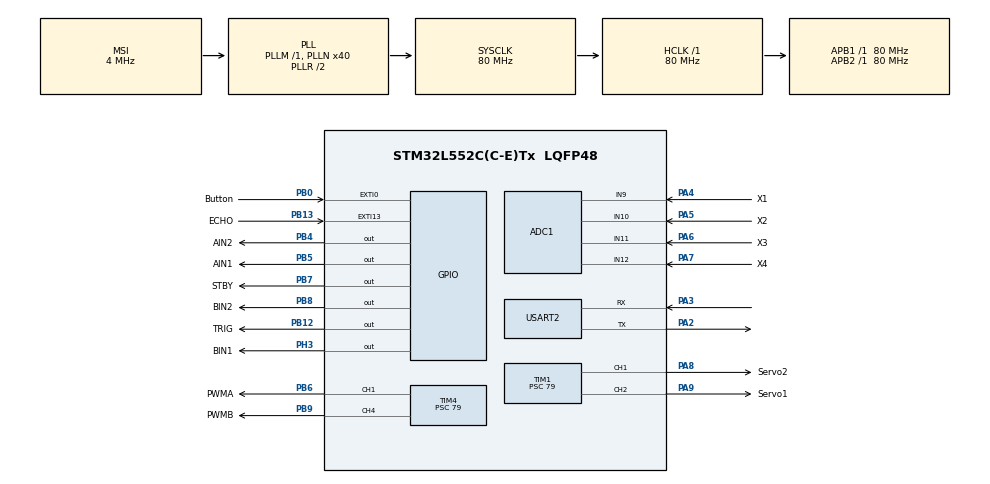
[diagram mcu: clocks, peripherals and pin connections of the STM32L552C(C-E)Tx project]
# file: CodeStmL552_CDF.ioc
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ADC1.Channel-0\#ChannelRegularConversion=ADC_CHANNEL_10
ADC1.Channel-1\#ChannelRegularConversion=ADC_CHANNEL_9
ADC1.Channel-2\#ChannelRegularConversion=ADC_CHANNEL_11
ADC1.Channel-3\#ChannelRegularConversion=ADC_CHANNEL_12
ADC1.ContinuousConvMode=ENABLE
ADC1.DMAContinuousRequests=ENABLE
ADC1.EOCSelection=ADC_EOC_SEQ_CONV
ADC1.EnableInjectedConversion=DISABLE
ADC1.NbrOfConversion=4
ADC1.NbrOfConversionFlag=1
ADC1.OffsetNumber-0\#ChannelRegularConversion=ADC_OFFSET_NONE
ADC1.OffsetNumber-1\#ChannelRegularConversion=ADC_OFFSET_NONE
ADC1.OffsetNumber-2\#ChannelRegularConversion=ADC_OFFSET_NONE
ADC1.OffsetNumber-3\#ChannelRegularConversion=ADC_OFFSET_NONE
ADC1.Rank-0\#ChannelRegularConversion=1
ADC1.Rank-1\#ChannelRegularConversion=2
ADC1.Rank-2\#ChannelRegularConversion=3
ADC1.Rank-3\#ChannelRegularConversion=4
ADC1.SamplingTime-0\#ChannelRegularConversion=ADC_SAMPLETIME_92CYCLES_5
ADC1.SamplingTime-1\#ChannelRegularConversion=ADC_SAMPLETIME_92CYCLES_5
ADC1.SamplingTime-2\#ChannelRegularConversion=ADC_SAMPLETIME_92CYCLES_5
ADC1.SamplingTime-3\#ChannelRegularConversion=ADC_SAMPLETIME_92CYCLES_5
ADC1.master=1
Dma.ADC1.0.Channel_PRIV_NPRIV=DMA_CHANNEL_NPRIV_DISABLE
Dma.ADC1.0.Direction=DMA_PERIPH_TO_MEMORY
Dma.ADC1.0.EventEnable=DISABLE
Dma.ADC1.0.Instance=DMA1_Channel1
Dma.ADC1.0.MemDataAlignment=DMA_MDATAALIGN_HALFWORD
Dma.ADC1.0.MemInc=DMA_MINC_ENABLE
Dma.ADC1.0.Mode=DMA_CIRCULAR
Dma.ADC1.0.PeriphDataAlignment=DMA_PDATAALIGN_HALFWORD
Dma.ADC1.0.PeriphInc=DMA_PINC_DISABLE
Dma.ADC1.0.Polarity=HAL_DMAMUX_REQ_GEN_RISING
Dma.ADC1.0.Priority=DMA_PRIORITY_LOW
Dma.ADC1.0.RequestNumber=1
Dma.ADC1.0.SignalID=NONE
Dma.ADC1.0.SyncEnable=DISABLE
Dma.ADC1.0.SyncPolarity=HAL_DMAMUX_SYNC_NO_EVENT
Dma.ADC1.0.SyncRequestNumber=1
Dma.ADC1.0.SyncSignalID=NONE
Dma.Request0=ADC1
Mcu.Family=STM32L5
Mcu.Name=STM32L552C(C-E)Tx
Mcu.Package=LQFP48
NVIC.DMA1_Channel1_IRQn=true\:0\:0\:false\:false\:true\:false\:true\:true
NVIC.EXTI0_IRQn=true\:0\:0\:false\:false\:true\:true\:true\:true
NVIC.EXTI13_IRQn=true\:0\:0\:false\:false\:true\:true\:true\:true
NVIC.PriorityGroup=NVIC_PRIORITYGROUP_3
PA13\ (JTMS/SWDIO).Mode=Trace_Asynchronous_SW
PA13\ (JTMS/SWDIO).Signal=DEBUG_JTMS-SWDIO
PA14\ (JTCK/SWCLK).Mode=Trace_Asynchronous_SW
PA14\ (JTCK/SWCLK).Signal=DEBUG_JTCK-SWCLK
PA2.Mode=Asynchronous
PA2.Signal=USART2_TX
PA3.Mode=Asynchronous
PA3.Signal=USART2_RX
PA4.GPIO_Label=X1
PA4.Signal=ADCx_IN9
PA5.GPIO_Label=X2
PA5.Signal=ADCx_IN10
PA6.GPIO_Label=X3
PA6.Signal=ADCx_IN11
PA7.GPIO_Label=X4
PA7.Signal=ADCx_IN12
PA8.GPIO_Label=Servo2
PA8.Signal=S_TIM1_CH1
PA9.GPIO_Label=Servo1
PA9.Signal=S_TIM1_CH2
PB0.GPIO_Label=Button
PB0.GPIO_ModeDefaultEXTI=GPIO_MODE_IT_RISING
PB0.GPIO_PuPd=GPIO_NOPULL
PB0.Signal=GPXTI0
PB12.GPIO_Label=TRIG
PB12.Signal=GPIO_Output
PB13.GPIO_Label=ECHO
PB13.GPIO_ModeDefaultEXTI=GPIO_MODE_IT_RISING_FALLING
PB13.Signal=GPXTI13
PB3\ (JTDO/TRACESWO).Mode=Trace_Asynchronous_SW
PB3\ (JTDO/TRACESWO).Signal=DEBUG_JTDO-SWO
PB4\ (NJTRST).GPIO_Label=AIN2
PB4\ (NJTRST).Signal=GPIO_Output
PB5.GPIO_Label=AIN1
PB5.Signal=GPIO_Output
PB6.GPIO_Label=PWMA
PB6.Signal=S_TIM4_CH1
PB7.GPIO_Label=STBY
PB7.Signal=GPIO_Output
PB8.GPIO_Label=BIN2
PB8.Signal=GPIO_Output
PB9.GPIO_Label=PWMB
PB9.Signal=S_TIM4_CH4
PH0-OSC_IN\ (PH0).Mode=HSE-External-Oscillator
PH0-OSC_IN\ (PH0).Signal=RCC_OSC_IN
PH1-OSC_OUT\ (PH1).Mode=HSE-External-Oscillator
PH1-OSC_OUT\ (PH1).Signal=RCC_OSC_OUT
PH3-BOOT0.GPIO_Label=BIN1
PH3-BOOT0.Signal=GPIO_Output
ProjectManager.HeapSize=0x200
ProjectManager.StackSize=0x400
ProjectManager.TargetToolchain=STM32CubeIDE
RCC.ADCFreq_Value=32000000
RCC.AHBFreq_Value=80000000
RCC.APB1Freq_Value=80000000
RCC.APB1TimFreq_Value=80000000
RCC.APB2Freq_Value=80000000
RCC.APB2TimFreq_Value=80000000
RCC.CortexFreq_Value=80000000
RCC.HCLKFreq_Value=80000000
RCC.HSE_VALUE=16000000
RCC.HSI48_VALUE=48000000
RCC.HSI_VALUE=16000000
RCC.LSE_VALUE=32768
RCC.MSI_VALUE=4000000
RCC.PLLN=40
RCC.PLLSAI1N=16
RCC.SYSCLKFreq_VALUE=80000000
RCC.SYSCLKSource=RCC_SYSCLKSOURCE_PLLCLK
RCC.USBFreq_Value=32000000
RCC.VCOOutputFreq_Value=160000000
SH.ADCx_IN10.0=ADC1_IN10,IN10-Single-Ended
SH.ADCx_IN11.0=ADC1_IN11,IN11-Single-Ended
SH.ADCx_IN12.0=ADC1_IN12,IN12-Single-Ended
SH.ADCx_IN9.0=ADC1_IN9,IN9-Single-Ended
SH.ADCx_IN9.1=ADC2_IN9
SH.S_TIM1_CH1.0=TIM1_CH1,PWM Generation1 CH1
SH.S_TIM1_CH2.0=TIM1_CH2,PWM Generation2 CH2
SH.S_TIM4_CH1.0=TIM4_CH1,PWM Generation1 CH1
SH.S_TIM4_CH4.0=TIM4_CH4,PWM Generation4 CH4
TIM1.Channel-PWM\ Generation1\ CH1=TIM_CHANNEL_1
TIM1.Channel-PWM\ Generation2\ CH2=TIM_CHANNEL_2
TIM1.Prescaler=79
TIM4.Channel-PWM\ Generation1\ CH1=TIM_CHANNEL_1
TIM4.Channel-PWM\ Generation4\ CH4=TIM_CHANNEL_4
TIM4.Period=199
TIM4.Prescaler=79
USART2.VirtualMode-Asynchronous=VM_ASYNC
VP_ICACHE_VS_ICACHE.Mode=DefaultMode
VP_PWR_VS_DBSignals.Mode=DisableDeadBatterySignals
VP_PWR_VS_SECSignals.Mode=Security/Privilege
VP_TIM1_VS_ClockSourceINT.Mode=Internal
VP_TIM4_VS_ClockSourceINT.Mode=Internal
board=custom

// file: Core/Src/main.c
/* USER CODE BEGIN Header */
/**
  ******************************************************************************
  * @file           : main.c
  * @brief          : Main program body
  ******************************************************************************
  * @attention
  *
  * Copyright (c) 2025 STMicroelectronics.
  * All rights reserved.
  *
  * This software is licensed under terms that can be found in the LICENSE file
  * in the root directory of this software component.
  * If no LICENSE file comes with this software, it is provided AS-IS.
  *
  ******************************************************************************
  */
/* USER CODE END Header */
#include "main.h"

/* USER CODE BEGIN Includes */
#include <stdio.h>
#include "MotorFunctions.h"
/* USER CODE END Includes */

ADC_HandleTypeDef hadc1;
DMA_HandleTypeDef hdma_adc1;

TIM_HandleTypeDef htim1;
TIM_HandleTypeDef htim4;

UART_HandleTypeDef huart2;

/* USER CODE BEGIN PV */
uint32_t timer_count = 0;
uint32_t current_count = 0;
uint16_t Distance = 0;
uint16_t STANBY=0;
int threshold = 2000;  //the threshold for line tracking

uint16_t UperSpeed = 150;
uint16_t LowerSpeed = 80;
uint16_t LeftMotorSpeed =120;
uint16_t RightMotorSpeed =120;
uint16_t SpeedStep = 4;
uint16_t DebutVirageG=0;
uint16_t DebutVirageD=0;
uint16_t FinVirageG=0;
uint16_t FinVirageD=0;
uint16_t ILdetected=0;
uint16_t IRdetected=0;
/* USER CODE END PV */

void SystemClock_Config(void);
static void MX_GPIO_Init(void);
static void MX_DMA_Init(void);
static void MX_ADC1_Init(void);
static void MX_USART2_UART_Init(void);
static void MX_TIM1_Init(void);
static void MX_TIM4_Init(void);
static void MX_ICACHE_Init(void);
/* USER CODE BEGIN PFP */
ADC_ChannelConfTypeDef sConfig;
void HAL_GPIO_EXTI_Rising_Callback(uint16_t GPIO_Pin)
{
    if (GPIO_Pin == ECHO_Pin) {
        timer_count = __HAL_TIM_GET_COUNTER(&htim1);
    }
    else if (GPIO_Pin ==Button_Pin){
    	STANBY=1-STANBY;
    	HAL_GPIO_WritePin(STBY_GPIO_Port, STBY_Pin, STANBY);

    }
}

void HAL_GPIO_EXTI_Falling_Callback(uint16_t GPIO_Pin)
{
    if (GPIO_Pin == ECHO_Pin) {
        current_count = __HAL_TIM_GET_COUNTER(&htim1);
        uint32_t delta;

        if (current_count >= timer_count) {
            delta = current_count - timer_count;
        } else {
            delta = (65536 + current_count - timer_count); // pour timer 16 bits
        }

        Distance = (uint16_t)((delta * 0.034f) / 2.0f);  // arrondi entier en cm
    }
}
/* USER CODE END PFP */

/* USER CODE BEGIN 0 */

uint16_t ADC_VAL[4];

int __io_putchar(int ch)
{
  HAL_UART_Transmit(&huart2, (uint8_t *)&ch, 1, HAL_MAX_DELAY);
  return ch;
}
/* USER CODE END 0 */

int main(void)
{

  /* MCU Configuration--------------------------------------------------------*/

  /* Reset of all peripherals, Initializes the Flash interface and the Systick. */
  HAL_Init();

  /* Configure the system clock */
  SystemClock_Config();

  /* USER CODE BEGIN SysInit */
  HAL_NVIC_EnableIRQ(EXTI13_IRQn);

  /* USER CODE END SysInit */

  /* Initialize all configured peripherals */
  MX_GPIO_Init();
  MX_DMA_Init();
  MX_ADC1_Init();
  MX_USART2_UART_Init();
  MX_TIM1_Init();
  MX_TIM4_Init();
  MX_ICACHE_Init();
  /* USER CODE BEGIN 2 */
  HAL_GPIO_WritePin(STBY_GPIO_Port, STBY_Pin, STANBY);
  // For the motors
  HAL_TIM_PWM_Start(&htim4, TIM_CHANNEL_1);
  HAL_TIM_PWM_Start(&htim4, TIM_CHANNEL_4);

  HAL_TIM_Base_Start(&htim1);
  HAL_GPIO_WritePin(TRIG_GPIO_Port, TRIG_Pin, GPIO_PIN_RESET); //pull the TRIG pin low
  HAL_ADCEx_Calibration_Start(&hadc1, ADC_SINGLE_ENDED); //for sensors calibration

  //Stop the motor
  Stop();

  int crossCount =0;
  int TIM_count0 = __HAL_TIM_GET_COUNTER(&htim1);
  int TIM_count1 = __HAL_TIM_GET_COUNTER(&htim1);
  int CurrentTIM_count = __HAL_TIM_GET_COUNTER(&htim1);
  //current_count = __HAL_TIM_GET_COUNTER(&htim1);
  HAL_ADC_Start_DMA(&hadc1, ADC_VAL, 4);

  /* USER CODE END 2 */

  /* Infinite loop */
  /* USER CODE BEGIN WHILE */
  while (1)
  {
	   CurrentTIM_count = __HAL_TIM_GET_COUNTER(&htim1);
	  // Déclenche le capteur
	  	  HAL_GPIO_WritePin(TRIG_GPIO_Port, TRIG_Pin, GPIO_PIN_SET);
	  	  __HAL_TIM_SET_COUNTER(&htim1, 0);
	  	  while (__HAL_TIM_GET_COUNTER(&htim1) < 10); // 10 us
	  	  HAL_GPIO_WritePin(TRIG_GPIO_Port, TRIG_Pin, GPIO_PIN_RESET);

	  	if(Distance>8){     ///  C'est pour la distance.
	  	if(crossCount>=6){
	  		  				TurnRight(UperSpeed);
	  		  			//printf("TurnRight : Crosscount :  %d \r\n", crossCount);
	  	}else{
	  		if((DebutVirageD==0)&&(DebutVirageG==0)){    // Si on n'est pas dans un virage
	  		if(!OL()&&!OR()){   // Les deux extrémitées sont sur du noir
	  			if(IL()&&!IR()){   // On regarde les deux capteur du milieu : Si celui à gauche est sur du blanc et l'autre sur du noir
	  				if(RightMotorSpeed>LowerSpeed){RightMotorSpeed-=SpeedStep;}  // On décrémente si possible la vitesse du moteur à droite
	  				if(LeftMotorSpeed<UperSpeed){LeftMotorSpeed+=SpeedStep;}  // On incrémente celui de gauche
	  				// Tourner legèrement à droite
	  				Run(LeftMotorSpeed, RightMotorSpeed);
	  			}else if(!IL()&&IR()){  // Si celui à gauche est sur du noir et l'autre sur du blanc
	  				if(RightMotorSpeed<UperSpeed){RightMotorSpeed+=SpeedStep;} // On incrémente si possible la vitesse du moteur à droite
					if(LeftMotorSpeed>LowerSpeed){LeftMotorSpeed-=SpeedStep;}   // On décrémente celui de gauche
					// Tourner legèrement à gauche
					Run(LeftMotorSpeed, RightMotorSpeed);
	  			}
	  			// si les deux du milieu sont tous sur du noir, avancer
	  			Run(LeftMotorSpeed, RightMotorSpeed);
	  		}else if(OL()&&OR()&&(IL()||IR())){
	  			if(CurrentTIM_count-TIM_count1 >=1000){
					//printf("++ Crosscount :  %d \r\n", crossCount);
	  				crossCount++;
	  				TIM_count0 = __HAL_TIM_GET_COUNTER(&htim1);
	  			}
	  		}else if(!OL()&&OR()){  // Si le capteur le plus à droite est sur du blanc == Virage à droite !
	  			TurnRight(LowerSpeed); // Tourner à droite (moteur gauche vitesse 30)
	  			DebutVirageD =1;
	  			ILdetected=0;
//				if(CurrentTIM_count-TIM_count0 >=500){
//					TurnRight(LowerSpeed); // Tourner à droite (moteur gauche vitesse 30)
//					printf("TURNRIGHT Crosscount :  %d \r\n", crossCount);
//					DebutVirageD =1;
//					ILdetected=0;
//					TIM_count1 = __HAL_TIM_GET_COUNTER(&htim1);
//				}
	  		}else if(OL()&&!OR()){  // Cas symétrique
	  			TurnLeft(LowerSpeed);
	  			DebutVirageG =1;
	  			IRdetected=0;
//				if(CurrentTIM_count-TIM_count0 >=500){
//				TurnLeft(LowerSpeed); // Tourner à droite (moteur gauche vitesse 30)
//				printf("TURNRIGHT Crosscount :  %d \r\n", crossCount);
//				DebutVirageG =1;
//				IRdetected=0;
//				TIM_count1= __HAL_TIM_GET_COUNTER(&htim1);
//			}
	  		}
	  		}else{
	  			if((DebutVirageG==1)&&IR()&&(IRdetected==0)){  // SI on est dans un virage et le deuxième capteur à compter de la droite detecte du banc
	  				IRdetected=1;
	  			}
	  			else if((DebutVirageG==1)&&!IR()&&(IRdetected==1)){
	  				IRdetected=0;
	  				DebutVirageG=0;
	  				if(RightMotorSpeed<UperSpeed){RightMotorSpeed+=SpeedStep;}
	  				if(LeftMotorSpeed>LowerSpeed){LeftMotorSpeed-=SpeedStep;}
	  				int speed = (RightMotorSpeed>LeftMotorSpeed)?LeftMotorSpeed:RightMotorSpeed;
	  				Run(speed, speed);
	  			}
	  			if((DebutVirageD==1)&&IL()&&(ILdetected==0)){
					ILdetected=1;
				}
	  			else if((DebutVirageD==1)&&!IL()&&(ILdetected==1)){
					ILdetected=0;
					DebutVirageD=0;
					if(LeftMotorSpeed<UperSpeed){LeftMotorSpeed+=SpeedStep;}
					if(RightMotorSpeed>LowerSpeed){RightMotorSpeed-=SpeedStep;}
					int speed = (RightMotorSpeed>LeftMotorSpeed)?LeftMotorSpeed:RightMotorSpeed;
					Run(speed, speed);
	  			}
	  		}}
	  	}else{Stop();}
	 	  //printf("[ %i,    %i,    %i,    %i  ] \r\n ",ADC_VAL[0],ADC_VAL[1],ADC_VAL[2],ADC_VAL[3]);

	 	  HAL_Delay(5);

    /* USER CODE END WHILE */

  }
}

void SystemClock_Config(void)
{
  RCC_OscInitTypeDef RCC_OscInitStruct = {0};
  RCC_ClkInitTypeDef RCC_ClkInitStruct = {0};

  /** Configure the main internal regulator output voltage
  */
  if (HAL_PWREx_ControlVoltageScaling(PWR_REGULATOR_VOLTAGE_SCALE1) != HAL_OK)
  {
    Error_Handler();
  }

  /** Initializes the RCC Oscillators according to the specified parameters
  * in the RCC_OscInitTypeDef structure.
  */
  RCC_OscInitStruct.OscillatorType = RCC_OSCILLATORTYPE_MSI;
  RCC_OscInitStruct.MSIState = RCC_MSI_ON;
  RCC_OscInitStruct.MSICalibrationValue = RCC_MSICALIBRATION_DEFAULT;
  RCC_OscInitStruct.MSIClockRange = RCC_MSIRANGE_6;
  RCC_OscInitStruct.PLL.PLLState = RCC_PLL_ON;
  RCC_OscInitStruct.PLL.PLLSource = RCC_PLLSOURCE_MSI;
  RCC_OscInitStruct.PLL.PLLM = 1;
  RCC_OscInitStruct.PLL.PLLN = 40;
  RCC_OscInitStruct.PLL.PLLP = RCC_PLLP_DIV7;
  RCC_OscInitStruct.PLL.PLLQ = RCC_PLLQ_DIV2;
  RCC_OscInitStruct.PLL.PLLR = RCC_PLLR_DIV2;
  if (HAL_RCC_OscConfig(&RCC_OscInitStruct) != HAL_OK)
  {
    Error_Handler();
  }

  /** Initializes the CPU, AHB and APB buses clocks
  */
  RCC_ClkInitStruct.ClockType = RCC_CLOCKTYPE_HCLK|RCC_CLOCKTYPE_SYSCLK
                              |RCC_CLOCKTYPE_PCLK1|RCC_CLOCKTYPE_PCLK2;
  RCC_ClkInitStruct.SYSCLKSource = RCC_SYSCLKSOURCE_PLLCLK;
  RCC_ClkInitStruct.AHBCLKDivider = RCC_SYSCLK_DIV1;
  RCC_ClkInitStruct.APB1CLKDivider = RCC_HCLK_DIV1;
  RCC_ClkInitStruct.APB2CLKDivider = RCC_HCLK_DIV1;

  if (HAL_RCC_ClockConfig(&RCC_ClkInitStruct, FLASH_LATENCY_3) != HAL_OK)
  {
    Error_Handler();
  }
}

static void MX_ADC1_Init(void)
{

  ADC_MultiModeTypeDef multimode = {0};
  ADC_ChannelConfTypeDef sConfig = {0};

  /** Common config
  */
  hadc1.Instance = ADC1;
  hadc1.Init.ClockPrescaler = ADC_CLOCK_ASYNC_DIV1;
  hadc1.Init.Resolution = ADC_RESOLUTION_12B;
  hadc1.Init.DataAlign = ADC_DATAALIGN_RIGHT;
  hadc1.Init.ScanConvMode = ADC_SCAN_ENABLE;
  hadc1.Init.EOCSelection = ADC_EOC_SEQ_CONV;
  hadc1.Init.LowPowerAutoWait = DISABLE;
  hadc1.Init.ContinuousConvMode = ENABLE;
  hadc1.Init.NbrOfConversion = 4;
  hadc1.Init.DiscontinuousConvMode = DISABLE;
  hadc1.Init.ExternalTrigConv = ADC_SOFTWARE_START;
  hadc1.Init.ExternalTrigConvEdge = ADC_EXTERNALTRIGCONVEDGE_NONE;
  hadc1.Init.DMAContinuousRequests = ENABLE;
  hadc1.Init.Overrun = ADC_OVR_DATA_PRESERVED;
  hadc1.Init.OversamplingMode = DISABLE;
  if (HAL_ADC_Init(&hadc1) != HAL_OK)
  {
    Error_Handler();
  }

  /** Configure the ADC multi-mode
  */
  multimode.Mode = ADC_MODE_INDEPENDENT;
  if (HAL_ADCEx_MultiModeConfigChannel(&hadc1, &multimode) != HAL_OK)
  {
    Error_Handler();
  }

  /** Configure Regular Channel
  */
  sConfig.Channel = ADC_CHANNEL_10;
  sConfig.Rank = ADC_REGULAR_RANK_1;
  sConfig.SamplingTime = ADC_SAMPLETIME_92CYCLES_5;
  sConfig.SingleDiff = ADC_SINGLE_ENDED;
  sConfig.OffsetNumber = ADC_OFFSET_NONE;
  sConfig.Offset = 0;
  if (HAL_ADC_ConfigChannel(&hadc1, &sConfig) != HAL_OK)
  {
    Error_Handler();
  }

  /** Configure Regular Channel
  */
  sConfig.Channel = ADC_CHANNEL_9;
  sConfig.Rank = ADC_REGULAR_RANK_2;
  if (HAL_ADC_ConfigChannel(&hadc1, &sConfig) != HAL_OK)
  {
    Error_Handler();
  }

  /** Configure Regular Channel
  */
  sConfig.Channel = ADC_CHANNEL_11;
  sConfig.Rank = ADC_REGULAR_RANK_3;
  if (HAL_ADC_ConfigChannel(&hadc1, &sConfig) != HAL_OK)
  {
    Error_Handler();
  }

  /** Configure Regular Channel
  */
  sConfig.Channel = ADC_CHANNEL_12;
  sConfig.Rank = ADC_REGULAR_RANK_4;
  if (HAL_ADC_ConfigChannel(&hadc1, &sConfig) != HAL_OK)
  {
    Error_Handler();
  }

}

static void MX_ICACHE_Init(void)
{

  /** Enable instruction cache (default 2-ways set associative cache)
  */
  if (HAL_ICACHE_Enable() != HAL_OK)
  {
    Error_Handler();
  }

}

static void MX_TIM1_Init(void)
{

  TIM_ClockConfigTypeDef sClockSourceConfig = {0};
  TIM_MasterConfigTypeDef sMasterConfig = {0};
  TIM_OC_InitTypeDef sConfigOC = {0};
  TIM_BreakDeadTimeConfigTypeDef sBreakDeadTimeConfig = {0};

  htim1.Instance = TIM1;
  htim1.Init.Prescaler = 79;
  htim1.Init.CounterMode = TIM_COUNTERMODE_UP;
  htim1.Init.Period = 65535;
  htim1.Init.ClockDivision = TIM_CLOCKDIVISION_DIV1;
  htim1.Init.RepetitionCounter = 0;
  htim1.Init.AutoReloadPreload = TIM_AUTORELOAD_PRELOAD_DISABLE;
  if (HAL_TIM_Base_Init(&htim1) != HAL_OK)
  {
    Error_Handler();
  }
  sClockSourceConfig.ClockSource = TIM_CLOCKSOURCE_INTERNAL;
  if (HAL_TIM_ConfigClockSource(&htim1, &sClockSourceConfig) != HAL_OK)
  {
    Error_Handler();
  }
  if (HAL_TIM_PWM_Init(&htim1) != HAL_OK)
  {
    Error_Handler();
  }
  sMasterConfig.MasterOutputTrigger = TIM_TRGO_RESET;
  sMasterConfig.MasterOutputTrigger2 = TIM_TRGO2_RESET;
  sMasterConfig.MasterSlaveMode = TIM_MASTERSLAVEMODE_DISABLE;
  if (HAL_TIMEx_MasterConfigSynchronization(&htim1, &sMasterConfig) != HAL_OK)
  {
    Error_Handler();
  }
  sConfigOC.OCMode = TIM_OCMODE_PWM1;
  sConfigOC.Pulse = 0;
  sConfigOC.OCPolarity = TIM_OCPOLARITY_HIGH;
  sConfigOC.OCNPolarity = TIM_OCNPOLARITY_HIGH;
  sConfigOC.OCFastMode = TIM_OCFAST_DISABLE;
  sConfigOC.OCIdleState = TIM_OCIDLESTATE_RESET;
  sConfigOC.OCNIdleState = TIM_OCNIDLESTATE_RESET;
  if (HAL_TIM_PWM_ConfigChannel(&htim1, &sConfigOC, TIM_CHANNEL_1) != HAL_OK)
  {
    Error_Handler();
  }
  if (HAL_TIM_PWM_ConfigChannel(&htim1, &sConfigOC, TIM_CHANNEL_2) != HAL_OK)
  {
    Error_Handler();
  }
  sBreakDeadTimeConfig.OffStateRunMode = TIM_OSSR_DISABLE;
  sBreakDeadTimeConfig.OffStateIDLEMode = TIM_OSSI_DISABLE;
  sBreakDeadTimeConfig.LockLevel = TIM_LOCKLEVEL_OFF;
  sBreakDeadTimeConfig.DeadTime = 0;
  sBreakDeadTimeConfig.BreakState = TIM_BREAK_DISABLE;
  sBreakDeadTimeConfig.BreakPolarity = TIM_BREAKPOLARITY_HIGH;
  sBreakDeadTimeConfig.BreakFilter = 0;
  sBreakDeadTimeConfig.BreakAFMode = TIM_BREAK_AFMODE_INPUT;
  sBreakDeadTimeConfig.Break2State = TIM_BREAK2_DISABLE;
  sBreakDeadTimeConfig.Break2Polarity = TIM_BREAK2POLARITY_HIGH;
  sBreakDeadTimeConfig.Break2Filter = 0;
  sBreakDeadTimeConfig.Break2AFMode = TIM_BREAK_AFMODE_INPUT;
  sBreakDeadTimeConfig.AutomaticOutput = TIM_AUTOMATICOUTPUT_DISABLE;
  if (HAL_TIMEx_ConfigBreakDeadTime(&htim1, &sBreakDeadTimeConfig) != HAL_OK)
  {
    Error_Handler();
  }
  HAL_TIM_MspPostInit(&htim1);

}

static void MX_TIM4_Init(void)
{

  TIM_ClockConfigTypeDef sClockSourceConfig = {0};
  TIM_MasterConfigTypeDef sMasterConfig = {0};
  TIM_OC_InitTypeDef sConfigOC = {0};

  htim4.Instance = TIM4;
  htim4.Init.Prescaler = 79;
  htim4.Init.CounterMode = TIM_COUNTERMODE_UP;
  htim4.Init.Period = 199;
  htim4.Init.ClockDivision = TIM_CLOCKDIVISION_DIV1;
  htim4.Init.AutoReloadPreload = TIM_AUTORELOAD_PRELOAD_DISABLE;
  if (HAL_TIM_Base_Init(&htim4) != HAL_OK)
  {
    Error_Handler();
  }
  sClockSourceConfig.ClockSource = TIM_CLOCKSOURCE_INTERNAL;
  if (HAL_TIM_ConfigClockSource(&htim4, &sClockSourceConfig) != HAL_OK)
  {
    Error_Handler();
  }
  if (HAL_TIM_PWM_Init(&htim4) != HAL_OK)
  {
    Error_Handler();
  }
  sMasterConfig.MasterOutputTrigger = TIM_TRGO_RESET;
  sMasterConfig.MasterSlaveMode = TIM_MASTERSLAVEMODE_DISABLE;
  if (HAL_TIMEx_MasterConfigSynchronization(&htim4, &sMasterConfig) != HAL_OK)
  {
    Error_Handler();
  }
  sConfigOC.OCMode = TIM_OCMODE_PWM1;
  sConfigOC.Pulse = 0;
  sConfigOC.OCPolarity = TIM_OCPOLARITY_HIGH;
  sConfigOC.OCFastMode = TIM_OCFAST_DISABLE;
  if (HAL_TIM_PWM_ConfigChannel(&htim4, &sConfigOC, TIM_CHANNEL_1) != HAL_OK)
  {
    Error_Handler();
  }
  if (HAL_TIM_PWM_ConfigChannel(&htim4, &sConfigOC, TIM_CHANNEL_4) != HAL_OK)
  {
    Error_Handler();
  }
  HAL_TIM_MspPostInit(&htim4);

}

static void MX_USART2_UART_Init(void)
{

  huart2.Instance = USART2;
  huart2.Init.BaudRate = 115200;
  huart2.Init.WordLength = UART_WORDLENGTH_8B;
  huart2.Init.StopBits = UART_STOPBITS_1;
  huart2.Init.Parity = UART_PARITY_NONE;
  huart2.Init.Mode = UART_MODE_TX_RX;
  huart2.Init.HwFlowCtl = UART_HWCONTROL_NONE;
  huart2.Init.OverSampling = UART_OVERSAMPLING_16;
  huart2.Init.OneBitSampling = UART_ONE_BIT_SAMPLE_DISABLE;
  huart2.Init.ClockPrescaler = UART_PRESCALER_DIV1;
  huart2.AdvancedInit.AdvFeatureInit = UART_ADVFEATURE_NO_INIT;
  if (HAL_UART_Init(&huart2) != HAL_OK)
  {
    Error_Handler();
  }
  if (HAL_UARTEx_SetTxFifoThreshold(&huart2, UART_TXFIFO_THRESHOLD_1_8) != HAL_OK)
  {
    Error_Handler();
  }
  if (HAL_UARTEx_SetRxFifoThreshold(&huart2, UART_RXFIFO_THRESHOLD_1_8) != HAL_OK)
  {
    Error_Handler();
  }
  if (HAL_UARTEx_DisableFifoMode(&huart2) != HAL_OK)
  {
    Error_Handler();
  }

}

static void MX_DMA_Init(void)
{

  /* DMA controller clock enable */
  __HAL_RCC_DMAMUX1_CLK_ENABLE();
  __HAL_RCC_DMA1_CLK_ENABLE();

  /* DMA interrupt init */
  /* DMA1_Channel1_IRQn interrupt configuration */
  HAL_NVIC_SetPriority(DMA1_Channel1_IRQn, 0, 0);
  HAL_NVIC_EnableIRQ(DMA1_Channel1_IRQn);

}

static void MX_GPIO_Init(void)
{
  GPIO_InitTypeDef GPIO_InitStruct = {0};

  /* GPIO Ports Clock Enable */
  __HAL_RCC_GPIOH_CLK_ENABLE();
  __HAL_RCC_GPIOA_CLK_ENABLE();
  __HAL_RCC_GPIOB_CLK_ENABLE();

  /*Configure GPIO pin Output Level */
  HAL_GPIO_WritePin(GPIOB, TRIG_Pin|AIN2_Pin|AIN1_Pin|STBY_Pin
                          |BIN2_Pin, GPIO_PIN_RESET);

  /*Configure GPIO pin Output Level */
  HAL_GPIO_WritePin(BIN1_GPIO_Port, BIN1_Pin, GPIO_PIN_RESET);

  /*Configure GPIO pin : X1_Pin */
  GPIO_InitStruct.Pin = X1_Pin;
  GPIO_InitStruct.Mode = GPIO_MODE_ANALOG;
  GPIO_InitStruct.Pull = GPIO_NOPULL;
  HAL_GPIO_Init(X1_GPIO_Port, &GPIO_InitStruct);

  /*Configure GPIO pin : Button_Pin */
  GPIO_InitStruct.Pin = Button_Pin;
  GPIO_InitStruct.Mode = GPIO_MODE_IT_RISING;
  GPIO_InitStruct.Pull = GPIO_NOPULL;
  HAL_GPIO_Init(Button_GPIO_Port, &GPIO_InitStruct);

  /*Configure GPIO pins : TRIG_Pin AIN2_Pin AIN1_Pin STBY_Pin
                           BIN2_Pin */
  GPIO_InitStruct.Pin = TRIG_Pin|AIN2_Pin|AIN1_Pin|STBY_Pin
                          |BIN2_Pin;
  GPIO_InitStruct.Mode = GPIO_MODE_OUTPUT_PP;
  GPIO_InitStruct.Pull = GPIO_NOPULL;
  GPIO_InitStruct.Speed = GPIO_SPEED_FREQ_LOW;
  HAL_GPIO_Init(GPIOB, &GPIO_InitStruct);

  /*Configure GPIO pin : ECHO_Pin */
  GPIO_InitStruct.Pin = ECHO_Pin;
  GPIO_InitStruct.Mode = GPIO_MODE_IT_RISING_FALLING;
  GPIO_InitStruct.Pull = GPIO_NOPULL;
  HAL_GPIO_Init(ECHO_GPIO_Port, &GPIO_InitStruct);

  /*Configure GPIO pin : BIN1_Pin */
  GPIO_InitStruct.Pin = BIN1_Pin;
  GPIO_InitStruct.Mode = GPIO_MODE_OUTPUT_PP;
  GPIO_InitStruct.Pull = GPIO_NOPULL;
  GPIO_InitStruct.Speed = GPIO_SPEED_FREQ_LOW;
  HAL_GPIO_Init(BIN1_GPIO_Port, &GPIO_InitStruct);

  /* EXTI interrupt init*/
  HAL_NVIC_SetPriority(EXTI0_IRQn, 0, 0);
  HAL_NVIC_EnableIRQ(EXTI0_IRQn);

  HAL_NVIC_SetPriority(EXTI13_IRQn, 0, 0);
  HAL_NVIC_EnableIRQ(EXTI13_IRQn);

}

void Error_Handler(void)
{
  __disable_irq();
  while (1)
  {
  }
}
